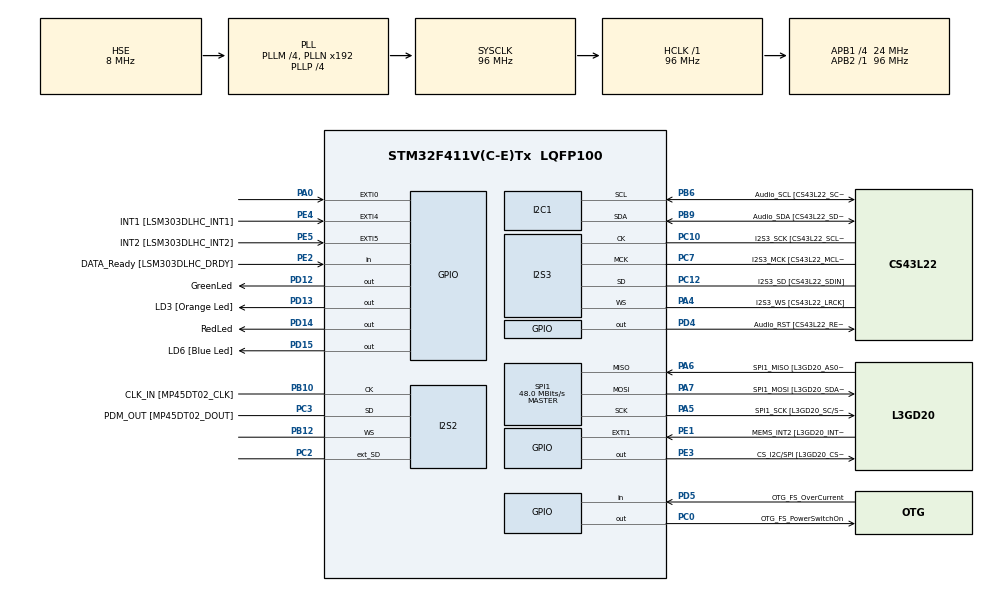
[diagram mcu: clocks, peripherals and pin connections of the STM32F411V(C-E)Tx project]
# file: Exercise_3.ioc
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FREERTOS.INCLUDE_vTaskDelayUntil=1
FREERTOS.Tasks01=FlashGreenLedTa,0,128,StartFlashGreenLedTask,Default,NULL,Dynamic,NULL,NULL;FlashRedLedTask,0,128,StartFlashRedLedTask,Default,NULL,Dynamic,NULL,NULL
I2S2.AudioFreq=I2S_AUDIOFREQ_96K
I2S2.ErrorAudioFreq=0.15 %
I2S2.FullDuplexMode=I2S_FULLDUPLEXMODE_ENABLE
I2S2.Instance=SPI$Index
I2S2.RealAudioFreq=96.153 KHz
I2S2.VirtualMode=I2S_MODE_MASTER
I2S3.AudioFreq=I2S_AUDIOFREQ_96K
I2S3.ErrorAudioFreq=-6.99 %
I2S3.FullDuplexMode=I2S_FULLDUPLEXMODE_DISABLE
I2S3.Instance=SPI$Index
I2S3.RealAudioFreq=89.285 KHz
I2S3.VirtualMode=I2S_MODE_MASTER
Mcu.Family=STM32F4
Mcu.Name=STM32F411V(C-E)Tx
Mcu.Package=LQFP100
NVIC.PriorityGroup=NVIC_PRIORITYGROUP_4
NVIC.TIM1_UP_TIM10_IRQn=true\:0\:0\:false\:false\:true\:false\:false\:true
NVIC.TimeBase=TIM1_UP_TIM10_IRQn
NVIC.TimeBaseIP=TIM1
PA0-WKUP.GPIO_ModeDefaultEXTI=GPIO_MODE_EVT_RISING
PA0-WKUP.Signal=GPXTI0
PA10.GPIO_Label=OTG_FS_ID
PA10.Signal=USB_OTG_FS_ID
PA11.GPIO_Label=OTG_FS_DM
PA11.Signal=USB_OTG_FS_DM
PA12.GPIO_Label=OTG_FS_DP
PA12.Signal=USB_OTG_FS_DP
PA13.GPIO_Label=SWDIO
PA13.Mode=Serial_Wire
PA13.Signal=SYS_JTMS-SWDIO
PA14.GPIO_Label=SWCLK
PA14.Mode=Serial_Wire
PA14.Signal=SYS_JTCK-SWCLK
PA4.GPIO_Label=I2S3_WS [CS43L22_LRCK]
PA4.GPIO_Mode=GPIO_MODE_AF_PP
PA4.GPIO_PuPd=GPIO_NOPULL
PA4.GPIO_Speed=GPIO_SPEED_FREQ_LOW
PA4.Mode=Half_Duplex_Master
PA4.Signal=I2S3_WS
PA5.GPIO_Label=SPI1_SCK [L3GD20_SC/SPC]
PA5.Mode=Full_Duplex_Master
PA5.Signal=SPI1_SCK
PA6.GPIO_Label=SPI1_MISO [L3GD20_AS0/SDO]
PA6.Mode=Full_Duplex_Master
PA6.Signal=SPI1_MISO
PA7.GPIO_Label=SPI1_MOSI [L3GD20_SDA/SDI/SDO]
PA7.Mode=Full_Duplex_Master
PA7.Signal=SPI1_MOSI
PA9.GPIO_Label=VBUS_FS
PA9.Signal=USB_OTG_FS_VBUS
PB10.GPIO_Label=CLK_IN [MP45DT02_CLK]
PB10.Mode=Full_Duplex_Master
PB10.Signal=I2S2_CK
PB12.Mode=Full_Duplex_Master
PB12.Signal=I2S2_WS
PB3.GPIO_Label=SWO
PB3.Signal=SYS_JTDO-SWO
PB6.GPIO_Label=Audio_SCL [CS43L22_SCL]
PB6.GPIO_Mode=GPIO_MODE_AF_OD
PB6.GPIO_PuPd=GPIO_NOPULL
PB6.GPIO_Speed=GPIO_SPEED_FREQ_LOW
PB6.Mode=I2C
PB6.Signal=I2C1_SCL
PB9.GPIO_Label=Audio_SDA [CS43L22_SDA]
PB9.GPIO_Mode=GPIO_MODE_AF_OD
PB9.GPIO_PuPd=GPIO_NOPULL
PB9.GPIO_Speed=GPIO_SPEED_FREQ_LOW
PB9.Mode=I2C
PB9.Signal=I2C1_SDA
PC0.GPIO_Label=OTG_FS_PowerSwitchOn
PC0.PinState=GPIO_PIN_SET
PC0.Signal=GPIO_Output
PC10.GPIO_Label=I2S3_SCK [CS43L22_SCLK]
PC10.GPIO_Mode=GPIO_MODE_AF_PP
PC10.GPIO_PuPd=GPIO_NOPULL
PC10.GPIO_Speed=GPIO_SPEED_FREQ_LOW
PC10.Mode=Half_Duplex_Master
PC10.Signal=I2S3_CK
PC12.GPIO_Label=I2S3_SD [CS43L22_SDIN]
PC12.GPIO_Mode=GPIO_MODE_AF_PP
PC12.GPIO_PuPd=GPIO_NOPULL
PC12.GPIO_Speed=GPIO_SPEED_FREQ_LOW
PC12.Mode=Half_Duplex_Master
PC12.Signal=I2S3_SD
PC14-OSC32_IN.GPIO_Label=PC14-OSC32_IN
PC14-OSC32_IN.Mode=LSE-External-Oscillator
PC14-OSC32_IN.Signal=RCC_OSC32_IN
PC15-OSC32_OUT.GPIO_Label=PC15-OSC32_OUT
PC15-OSC32_OUT.Mode=LSE-External-Oscillator
PC15-OSC32_OUT.Signal=RCC_OSC32_OUT
PC2.Mode=Full_Duplex_Master
PC2.Signal=I2S2_ext_SD
PC3.GPIO_Label=PDM_OUT [MP45DT02_DOUT]
PC3.Mode=Full_Duplex_Master
PC3.Signal=I2S2_SD
PC7.GPIO_Label=I2S3_MCK [CS43L22_MCLK]
PC7.GPIO_Mode=GPIO_MODE_AF_PP
PC7.GPIO_PuPd=GPIO_NOPULL
PC7.GPIO_Speed=GPIO_SPEED_FREQ_LOW
PC7.Mode=Master_Clock_Activated
PC7.Signal=I2S3_MCK
PD12.GPIO_Label=GreenLed
PD12.GPIO_PuPd=GPIO_NOPULL
PD12.GPIO_Speed=GPIO_SPEED_FREQ_LOW
PD12.Signal=GPIO_Output
PD13.GPIO_Label=LD3 [Orange Led]
PD13.GPIO_PuPd=GPIO_NOPULL
PD13.GPIO_Speed=GPIO_SPEED_FREQ_LOW
PD13.Signal=GPIO_Output
PD14.GPIO_Label=RedLed
PD14.GPIO_PuPd=GPIO_NOPULL
PD14.GPIO_Speed=GPIO_SPEED_FREQ_LOW
PD14.Signal=GPIO_Output
PD15.GPIO_Label=LD6 [Blue Led]
PD15.GPIO_PuPd=GPIO_NOPULL
PD15.GPIO_Speed=GPIO_SPEED_FREQ_LOW
PD15.Signal=GPIO_Output
PD4.GPIO_Label=Audio_RST [CS43L22_RESET]
PD4.Signal=GPIO_Output
PD5.GPIO_Label=OTG_FS_OverCurrent
PD5.Signal=GPIO_Input
PE1.GPIO_Label=MEMS_INT2 [L3GD20_INT2]
PE1.GPIO_ModeDefaultEXTI=GPIO_MODE_EVT_RISING
PE1.Signal=GPXTI1
PE2.GPIO_Label=DATA_Ready [LSM303DLHC_DRDY]
PE2.Signal=GPIO_Input
PE3.GPIO_Label=CS_I2C/SPI [L3GD20_CS_I2C/SPI]
PE3.Signal=GPIO_Output
PE4.GPIO_Label=INT1 [LSM303DLHC_INT1]
PE4.GPIO_ModeDefaultEXTI=GPIO_MODE_EVT_RISING
PE4.Signal=GPXTI4
PE5.GPIO_Label=INT2 [LSM303DLHC_INT2]
PE5.GPIO_ModeDefaultEXTI=GPIO_MODE_EVT_RISING
PE5.Signal=GPXTI5
PH0\ -\ OSC_IN.GPIO_Label=PH0-OSC_IN
PH0\ -\ OSC_IN.Mode=HSE-External-Clock-Source
PH0\ -\ OSC_IN.Signal=RCC_OSC_IN
PH1\ -\ OSC_OUT.GPIO_Label=PH1-OSC_OUT
PH1\ -\ OSC_OUT.Mode=HSE-External-Clock-Source
PH1\ -\ OSC_OUT.Signal=RCC_OSC_OUT
ProjectManager.HeapSize=0x200
ProjectManager.StackSize=0x400
ProjectManager.TargetToolchain=STM32CubeIDE
RCC.48MHZClocksFreq_Value=48000000
RCC.AHBFreq_Value=96000000
RCC.APB1CLKDivider=RCC_HCLK_DIV4
RCC.APB1Freq_Value=24000000
RCC.APB1TimFreq_Value=48000000
RCC.APB2Freq_Value=96000000
RCC.APB2TimFreq_Value=96000000
RCC.CortexFreq_Value=96000000
RCC.HCLKFreq_Value=96000000
RCC.HSE_VALUE=8000000
RCC.HSI_VALUE=16000000
RCC.PLLI2SM=5
RCC.PLLI2SN=200
RCC.PLLM=4
RCC.PLLP=RCC_PLLP_DIV4
RCC.PLLQ=8
RCC.PLLSourceVirtual=RCC_PLLSOURCE_HSE
RCC.SYSCLKFreq_VALUE=96000000
RCC.SYSCLKSource=RCC_SYSCLKSOURCE_PLLCLK
RCC.VCOOutputFreq_Value=384000000
SPI1.BaudRatePrescaler=SPI_BAUDRATEPRESCALER_2
SPI1.CalculateBaudRate=48.0 MBits/s
SPI1.Direction=SPI_DIRECTION_2LINES
SPI1.Mode=SPI_MODE_MASTER
SPI1.VirtualType=VM_MASTER
VP_FREERTOS_VS_CMSIS_V1.Mode=CMSIS_V1
VP_SYS_VS_tim1.Mode=TIM1
board=STM32F411E-DISCO

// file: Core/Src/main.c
/* USER CODE BEGIN Header */
/**
  ******************************************************************************
  * @file           : main.c
  * @brief          : Main program body
  ******************************************************************************
  * @attention
  *
  * <h2><center>&copy; Copyright (c) 2023 STMicroelectronics.
  * All rights reserved.</center></h2>
  *
  * This software component is licensed by ST under Ultimate Liberty license
  * SLA0044, the "License"; You may not use this file except in compliance with
  * the License. You may obtain a copy of the License at:
  *                             www.st.com/SLA0044
  *
  ******************************************************************************
  */
/* USER CODE END Header */

#include "main.h"
#include "cmsis_os.h"

/* USER CODE BEGIN PD */
#define green GPIO_PIN_12
#define orange GPIO_PIN_13
#define red GPIO_PIN_14
#define blue GPIO_PIN_15
/* USER CODE END PD */

I2C_HandleTypeDef hi2c1;

I2S_HandleTypeDef hi2s2;
I2S_HandleTypeDef hi2s3;

SPI_HandleTypeDef hspi1;

osThreadId FlashGreenLedTaHandle;
osThreadId FlashRedLedTaskHandle;

void SystemClock_Config(void);
static void MX_GPIO_Init(void);
static void MX_I2C1_Init(void);
static void MX_I2S2_Init(void);
static void MX_I2S3_Init(void);
static void MX_SPI1_Init(void);
void StartFlashGreenLedTask(void const * argument);
void StartFlashRedLedTask(void const * argument);

int main(void)
{

  /* MCU Configuration--------------------------------------------------------*/

  /* Reset of all peripherals, Initializes the Flash interface and the Systick. */
  HAL_Init();

  /* Configure the system clock */
  SystemClock_Config();

  /* Initialize all configured peripherals */
  MX_GPIO_Init();
  MX_I2C1_Init();
  MX_I2S2_Init();
  MX_I2S3_Init();
  MX_SPI1_Init();

  /* Create the thread(s) */
  /* definition and creation of FlashGreenLedTa */
  osThreadDef(FlashGreenLedTa, StartFlashGreenLedTask, osPriorityNormal, 0, 128);
  FlashGreenLedTaHandle = osThreadCreate(osThread(FlashGreenLedTa), NULL);

  /* definition and creation of FlashRedLedTask */
  osThreadDef(FlashRedLedTask, StartFlashRedLedTask, osPriorityNormal, 0, 128);
  FlashRedLedTaskHandle = osThreadCreate(osThread(FlashRedLedTask), NULL);

  /* Start scheduler */
  osKernelStart();

  /* We should never get here as control is now taken by the scheduler */

  /* Infinite loop */
  while (1)
  {

  }
}

void SystemClock_Config(void)
{
  RCC_OscInitTypeDef RCC_OscInitStruct = {0};
  RCC_ClkInitTypeDef RCC_ClkInitStruct = {0};
  RCC_PeriphCLKInitTypeDef PeriphClkInitStruct = {0};

  /** Configure the main internal regulator output voltage
  */
  __HAL_RCC_PWR_CLK_ENABLE();
  __HAL_PWR_VOLTAGESCALING_CONFIG(PWR_REGULATOR_VOLTAGE_SCALE1);
  /** Initializes the CPU, AHB and APB busses clocks
  */
  RCC_OscInitStruct.OscillatorType = RCC_OSCILLATORTYPE_HSE;
  RCC_OscInitStruct.HSEState = RCC_HSE_BYPASS;
  RCC_OscInitStruct.PLL.PLLState = RCC_PLL_ON;
  RCC_OscInitStruct.PLL.PLLSource = RCC_PLLSOURCE_HSE;
  RCC_OscInitStruct.PLL.PLLM = 4;
  RCC_OscInitStruct.PLL.PLLN = 192;
  RCC_OscInitStruct.PLL.PLLP = RCC_PLLP_DIV4;
  RCC_OscInitStruct.PLL.PLLQ = 8;
  if (HAL_RCC_OscConfig(&RCC_OscInitStruct) != HAL_OK)
  {
    Error_Handler();
  }
  /** Initializes the CPU, AHB and APB busses clocks
  */
  RCC_ClkInitStruct.ClockType = RCC_CLOCKTYPE_HCLK|RCC_CLOCKTYPE_SYSCLK
                              |RCC_CLOCKTYPE_PCLK1|RCC_CLOCKTYPE_PCLK2;
  RCC_ClkInitStruct.SYSCLKSource = RCC_SYSCLKSOURCE_PLLCLK;
  RCC_ClkInitStruct.AHBCLKDivider = RCC_SYSCLK_DIV1;
  RCC_ClkInitStruct.APB1CLKDivider = RCC_HCLK_DIV4;
  RCC_ClkInitStruct.APB2CLKDivider = RCC_HCLK_DIV1;

  if (HAL_RCC_ClockConfig(&RCC_ClkInitStruct, FLASH_LATENCY_3) != HAL_OK)
  {
    Error_Handler();
  }
  PeriphClkInitStruct.PeriphClockSelection = RCC_PERIPHCLK_I2S;
  PeriphClkInitStruct.PLLI2S.PLLI2SN = 200;
  PeriphClkInitStruct.PLLI2S.PLLI2SM = 5;
  PeriphClkInitStruct.PLLI2S.PLLI2SR = 2;
  if (HAL_RCCEx_PeriphCLKConfig(&PeriphClkInitStruct) != HAL_OK)
  {
    Error_Handler();
  }
}

static void MX_I2C1_Init(void)
{

  hi2c1.Instance = I2C1;
  hi2c1.Init.ClockSpeed = 100000;
  hi2c1.Init.DutyCycle = I2C_DUTYCYCLE_2;
  hi2c1.Init.OwnAddress1 = 0;
  hi2c1.Init.AddressingMode = I2C_ADDRESSINGMODE_7BIT;
  hi2c1.Init.DualAddressMode = I2C_DUALADDRESS_DISABLE;
  hi2c1.Init.OwnAddress2 = 0;
  hi2c1.Init.GeneralCallMode = I2C_GENERALCALL_DISABLE;
  hi2c1.Init.NoStretchMode = I2C_NOSTRETCH_DISABLE;
  if (HAL_I2C_Init(&hi2c1) != HAL_OK)
  {
    Error_Handler();
  }

}

static void MX_I2S2_Init(void)
{

  hi2s2.Instance = SPI2;
  hi2s2.Init.Mode = I2S_MODE_MASTER_TX;
  hi2s2.Init.Standard = I2S_STANDARD_PHILIPS;
  hi2s2.Init.DataFormat = I2S_DATAFORMAT_16B;
  hi2s2.Init.MCLKOutput = I2S_MCLKOUTPUT_DISABLE;
  hi2s2.Init.AudioFreq = I2S_AUDIOFREQ_96K;
  hi2s2.Init.CPOL = I2S_CPOL_LOW;
  hi2s2.Init.ClockSource = I2S_CLOCK_PLL;
  hi2s2.Init.FullDuplexMode = I2S_FULLDUPLEXMODE_ENABLE;
  if (HAL_I2S_Init(&hi2s2) != HAL_OK)
  {
    Error_Handler();
  }

}

static void MX_I2S3_Init(void)
{

  hi2s3.Instance = SPI3;
  hi2s3.Init.Mode = I2S_MODE_MASTER_TX;
  hi2s3.Init.Standard = I2S_STANDARD_PHILIPS;
  hi2s3.Init.DataFormat = I2S_DATAFORMAT_16B;
  hi2s3.Init.MCLKOutput = I2S_MCLKOUTPUT_ENABLE;
  hi2s3.Init.AudioFreq = I2S_AUDIOFREQ_96K;
  hi2s3.Init.CPOL = I2S_CPOL_LOW;
  hi2s3.Init.ClockSource = I2S_CLOCK_PLL;
  hi2s3.Init.FullDuplexMode = I2S_FULLDUPLEXMODE_DISABLE;
  if (HAL_I2S_Init(&hi2s3) != HAL_OK)
  {
    Error_Handler();
  }

}

static void MX_SPI1_Init(void)
{

  /* SPI1 parameter configuration*/
  hspi1.Instance = SPI1;
  hspi1.Init.Mode = SPI_MODE_MASTER;
  hspi1.Init.Direction = SPI_DIRECTION_2LINES;
  hspi1.Init.DataSize = SPI_DATASIZE_8BIT;
  hspi1.Init.CLKPolarity = SPI_POLARITY_LOW;
  hspi1.Init.CLKPhase = SPI_PHASE_1EDGE;
  hspi1.Init.NSS = SPI_NSS_SOFT;
  hspi1.Init.BaudRatePrescaler = SPI_BAUDRATEPRESCALER_2;
  hspi1.Init.FirstBit = SPI_FIRSTBIT_MSB;
  hspi1.Init.TIMode = SPI_TIMODE_DISABLE;
  hspi1.Init.CRCCalculation = SPI_CRCCALCULATION_DISABLE;
  hspi1.Init.CRCPolynomial = 10;
  if (HAL_SPI_Init(&hspi1) != HAL_OK)
  {
    Error_Handler();
  }

}

static void MX_GPIO_Init(void)
{
  GPIO_InitTypeDef GPIO_InitStruct = {0};

  /* GPIO Ports Clock Enable */
  __HAL_RCC_GPIOE_CLK_ENABLE();
  __HAL_RCC_GPIOC_CLK_ENABLE();
  __HAL_RCC_GPIOH_CLK_ENABLE();
  __HAL_RCC_GPIOA_CLK_ENABLE();
  __HAL_RCC_GPIOB_CLK_ENABLE();
  __HAL_RCC_GPIOD_CLK_ENABLE();

  /*Configure GPIO pin Output Level */
  HAL_GPIO_WritePin(CS_I2C_SPI_GPIO_Port, CS_I2C_SPI_Pin, GPIO_PIN_RESET);

  /*Configure GPIO pin Output Level */
  HAL_GPIO_WritePin(OTG_FS_PowerSwitchOn_GPIO_Port, OTG_FS_PowerSwitchOn_Pin, GPIO_PIN_SET);

  /*Configure GPIO pin Output Level */
  HAL_GPIO_WritePin(GPIOD, GreenLed_Pin|LD3_Pin|RedLed_Pin|LD6_Pin
                          |Audio_RST_Pin, GPIO_PIN_RESET);

  /*Configure GPIO pin : DATA_Ready_Pin */
  GPIO_InitStruct.Pin = DATA_Ready_Pin;
  GPIO_InitStruct.Mode = GPIO_MODE_INPUT;
  GPIO_InitStruct.Pull = GPIO_NOPULL;
  HAL_GPIO_Init(DATA_Ready_GPIO_Port, &GPIO_InitStruct);

  /*Configure GPIO pin : CS_I2C_SPI_Pin */
  GPIO_InitStruct.Pin = CS_I2C_SPI_Pin;
  GPIO_InitStruct.Mode = GPIO_MODE_OUTPUT_PP;
  GPIO_InitStruct.Pull = GPIO_NOPULL;
  GPIO_InitStruct.Speed = GPIO_SPEED_FREQ_LOW;
  HAL_GPIO_Init(CS_I2C_SPI_GPIO_Port, &GPIO_InitStruct);

  /*Configure GPIO pins : INT1_Pin INT2_Pin MEMS_INT2_Pin */
  GPIO_InitStruct.Pin = INT1_Pin|INT2_Pin|MEMS_INT2_Pin;
  GPIO_InitStruct.Mode = GPIO_MODE_EVT_RISING;
  GPIO_InitStruct.Pull = GPIO_NOPULL;
  HAL_GPIO_Init(GPIOE, &GPIO_InitStruct);

  /*Configure GPIO pin : OTG_FS_PowerSwitchOn_Pin */
  GPIO_InitStruct.Pin = OTG_FS_PowerSwitchOn_Pin;
  GPIO_InitStruct.Mode = GPIO_MODE_OUTPUT_PP;
  GPIO_InitStruct.Pull = GPIO_NOPULL;
  GPIO_InitStruct.Speed = GPIO_SPEED_FREQ_LOW;
  HAL_GPIO_Init(OTG_FS_PowerSwitchOn_GPIO_Port, &GPIO_InitStruct);

  /*Configure GPIO pin : PA0 */
  GPIO_InitStruct.Pin = GPIO_PIN_0;
  GPIO_InitStruct.Mode = GPIO_MODE_EVT_RISING;
  GPIO_InitStruct.Pull = GPIO_NOPULL;
  HAL_GPIO_Init(GPIOA, &GPIO_InitStruct);

  /*Configure GPIO pins : GreenLed_Pin LD3_Pin RedLed_Pin LD6_Pin
                           Audio_RST_Pin */
  GPIO_InitStruct.Pin = GreenLed_Pin|LD3_Pin|RedLed_Pin|LD6_Pin
                          |Audio_RST_Pin;
  GPIO_InitStruct.Mode = GPIO_MODE_OUTPUT_PP;
  GPIO_InitStruct.Pull = GPIO_NOPULL;
  GPIO_InitStruct.Speed = GPIO_SPEED_FREQ_LOW;
  HAL_GPIO_Init(GPIOD, &GPIO_InitStruct);

  /*Configure GPIO pin : VBUS_FS_Pin */
  GPIO_InitStruct.Pin = VBUS_FS_Pin;
  GPIO_InitStruct.Mode = GPIO_MODE_INPUT;
  GPIO_InitStruct.Pull = GPIO_NOPULL;
  HAL_GPIO_Init(VBUS_FS_GPIO_Port, &GPIO_InitStruct);

  /*Configure GPIO pins : OTG_FS_ID_Pin OTG_FS_DM_Pin OTG_FS_DP_Pin */
  GPIO_InitStruct.Pin = OTG_FS_ID_Pin|OTG_FS_DM_Pin|OTG_FS_DP_Pin;
  GPIO_InitStruct.Mode = GPIO_MODE_AF_PP;
  GPIO_InitStruct.Pull = GPIO_NOPULL;
  GPIO_InitStruct.Speed = GPIO_SPEED_FREQ_VERY_HIGH;
  GPIO_InitStruct.Alternate = GPIO_AF10_OTG_FS;
  HAL_GPIO_Init(GPIOA, &GPIO_InitStruct);

  /*Configure GPIO pin : OTG_FS_OverCurrent_Pin */
  GPIO_InitStruct.Pin = OTG_FS_OverCurrent_Pin;
  GPIO_InitStruct.Mode = GPIO_MODE_INPUT;
  GPIO_InitStruct.Pull = GPIO_NOPULL;
  HAL_GPIO_Init(OTG_FS_OverCurrent_GPIO_Port, &GPIO_InitStruct);

}

void StartFlashGreenLedTask(void const * argument)
{
  /* USER CODE BEGIN 5 */
  TickType_t TaskTimeStamp; // variable to hold the count
  TickType_t DelayTimeMsec = 1000; // variable to hold delay
  TaskTimeStamp = xTaskGetTickCount();
  /* Infinite loop */
  for(;;)
  {
	  //Toggle green led
	  HAL_GPIO_TogglePin(GPIOD, green);
	  //Delay 2 sec
	  vTaskDelayUntil(&TaskTimeStamp, 2*DelayTimeMsec);
	  //Toggle green led
	  HAL_GPIO_TogglePin(GPIOD, green);
	  //Delay 1.5 sec
	  vTaskDelayUntil(&TaskTimeStamp, 1.5*DelayTimeMsec);
  }
  /* USER CODE END 5 */
}

void StartFlashRedLedTask(void const * argument)
{
  /* USER CODE BEGIN StartFlashRedLedTask */
	TickType_t TaskTimeStamp; // variable to hold the count
	TickType_t DelayTimeMsec = 1000; // variable to hold delay
	TaskTimeStamp = xTaskGetTickCount();
  /* Infinite loop */
  for(;;)
  {
	  //Toggle red led
	  HAL_GPIO_TogglePin(GPIOD, red);
	  //Delay 1 sec
	  vTaskDelayUntil(&TaskTimeStamp, DelayTimeMsec);
	  //Toggle red led
	  HAL_GPIO_TogglePin(GPIOD, red);
	  //Delay 1 sec
	  vTaskDelayUntil(&TaskTimeStamp, DelayTimeMsec);
  }
  /* USER CODE END StartFlashRedLedTask */
}

void HAL_TIM_PeriodElapsedCallback(TIM_HandleTypeDef *htim)
{
  if (htim->Instance == TIM1) {
    HAL_IncTick();
  }
}

void Error_Handler(void)
{
}

/************************ (C) COPYRIGHT STMicroelectronics *****END OF FILE****/
